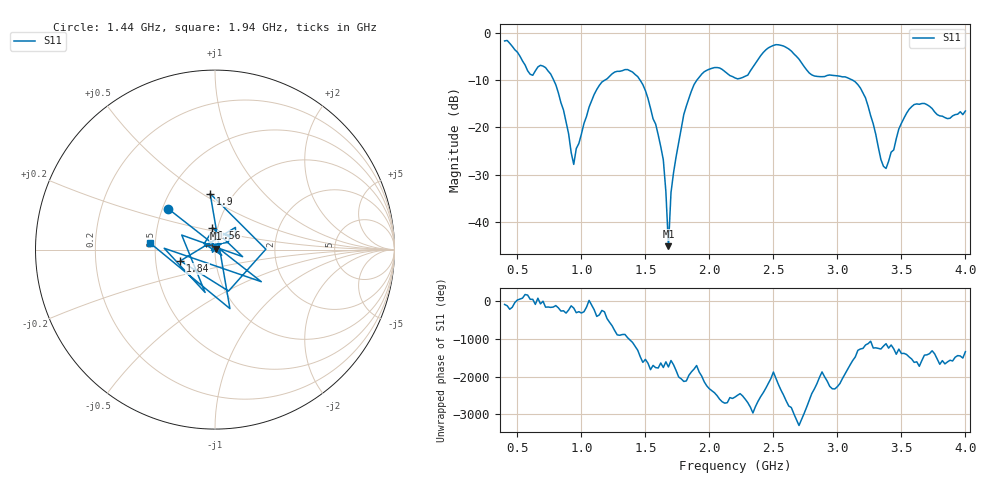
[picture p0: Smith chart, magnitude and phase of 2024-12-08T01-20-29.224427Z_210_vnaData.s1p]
!Created with skrf (http://scikit-rf.org).
# Hz S RI R 50.0
!freq ReS11 ImS11
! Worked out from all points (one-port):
!   181 points, 400 MHz to 4 GHz, reference 50 ohm
!   lowest |S11| = -45.2 dB at 1.68 GHz (marker M1), VSWR 1.01, Z = 50.3 + j0.463 ohm
!   |S11| at or under -10 dB: 783.4 MHz to 1.183 GHz (399.8 MHz wide, 40.7 % of centre); 1.458 GHz to 1.902 GHz (443.8 MHz wide, 26.4 % of centre); 3.118 GHz to end of sweep
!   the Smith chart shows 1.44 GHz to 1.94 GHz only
!   S11 on the Smith chart (normalised r, x): 1.44 GHz: 0.54, +0.28; 1.56 GHz: 0.94, +0.23; 1.84 GHz: 0.67, -0.09; 1.9 GHz: 0.78, +0.54; 1.94 GHz: 0.47, +0.04
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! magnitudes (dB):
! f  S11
! 400 MHz  -1.7
! 600 MHz  -8.8
! 720 MHz  -7.3
! 860 MHz  -16.3
! 940 MHz  -27.8
! 1.1 GHz  -13.0
! 1.3 GHz  -8.1
! 1.44 GHz  -9.3
! 1.56 GHz  -18.2
! 1.64 GHz  -26.9
! 1.66 GHz  -33.6
! 1.68 GHz  -45.2
! 1.7 GHz  -33.8
! 1.76 GHz  -23.2
! 1.84 GHz  -13.8
! 1.9 GHz  -10.1
! 1.94 GHz  -8.7
! 2.06 GHz  -7.3
! 2.2 GHz  -9.5
! 2.5 GHz  -2.7
! 2.66 GHz  -4.4
! 2.8 GHz  -8.9
! 3.1 GHz  -9.8
! 3.22 GHz  -13.8
! 3.34 GHz  -26.8
! 3.38 GHz  -28.7
! 3.56 GHz  -16.2
! 4 GHz  -16.5
